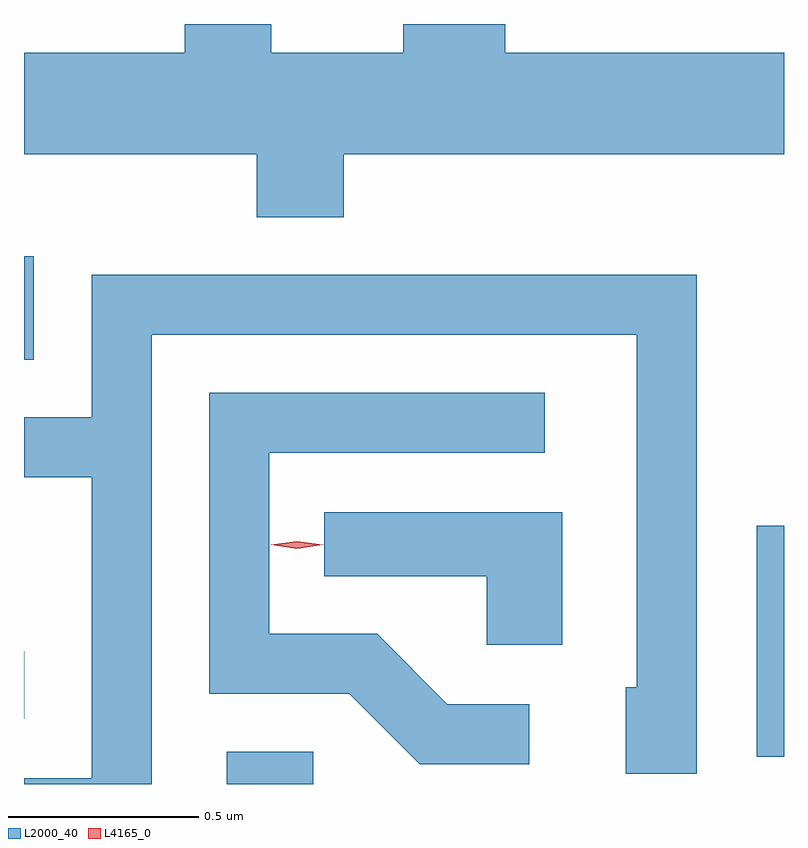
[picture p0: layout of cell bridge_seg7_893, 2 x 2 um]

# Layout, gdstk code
import gdstk
lib = gdstk.Library(unit=1e-6, precision=1e-09)
def R(c, l, rs):  # rectangles x0, y0, x1, y1
    for r in rs: c.add(gdstk.rectangle(r[:2], r[2:], *l))
def P(c, l, *ps):  # polygons
    for p in ps: c.add(gdstk.Polygon(p, *l))
L2000_40 = (2000, 40)
L4165_0 = (4165, 0)

bridge_seg7_893 = lib.new_cell('bridge_seg7_893')
R(bridge_seg7_893, L2000_40, [(314.511,1694.899,314.739,1694.984), (315.906,1694.971,315.978,1695.578), (313.978,1695.071,313.979,1695.249), (313.978,1696.016,314.004,1696.288)])
P(bridge_seg7_893, L2000_40, [(314.819,1696.556),(315.978,1696.556),(315.978,1696.824),(315.244,1696.824),(315.244,1696.899),(314.976,1696.899),(314.976,1696.824),(314.629,1696.824),(314.629,1696.899),(314.401,1696.899),(314.401,1696.824),(313.978,1696.824),(313.978,1696.556),(314.591,1696.556),(314.591,1696.391),(314.819,1696.391)],
  [(314.314,1696.081),(315.591,1696.081),(315.591,1695.154),(315.561,1695.154),(315.561,1694.926),(315.749,1694.926),(315.749,1696.239),(314.156,1696.239),(314.156,1695.864),(313.978,1695.864),(313.978,1695.706),(314.156,1695.706),(314.156,1694.914),(313.978,1694.914),(313.978,1694.899),(314.314,1694.899)],
  [(315.308,1695.109),(315.092,1695.109),(314.907,1695.294),(314.624,1695.294),(314.624,1695.771),(315.348,1695.771),(315.348,1695.929),(314.466,1695.929),(314.466,1695.136),(314.834,1695.136),(315.019,1694.951),(315.308,1694.951)],
  [(315.394,1695.614),(314.768,1695.614),(314.768,1695.446),(315.196,1695.446),(315.196,1695.266),(315.394,1695.266)])
P(bridge_seg7_893, L4165_0, [(314.696,1695.518),(314.627,1695.528),(314.627,1695.528),(314.627,1695.529),(314.696,1695.538),(314.766,1695.529),(314.766,1695.528),(314.766,1695.528)],
  [(314.696,1695.518),(314.63,1695.528),(314.629,1695.528),(314.63,1695.529),(314.696,1695.538),(314.762,1695.529),(314.763,1695.528),(314.762,1695.528)])

lib.write_gds('bridge_seg7_893.gds')
